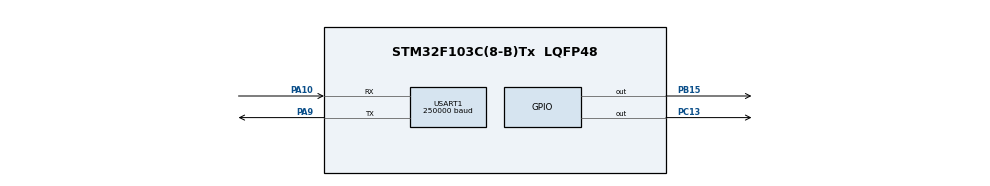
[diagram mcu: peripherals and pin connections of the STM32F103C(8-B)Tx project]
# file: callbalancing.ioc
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Mcu.Family=STM32F1
Mcu.Name=STM32F103C(8-B)Tx
Mcu.Package=LQFP48
NVIC.PriorityGroup=NVIC_PRIORITYGROUP_4
NVIC.USART1_IRQn=true\:0\:0\:false\:false\:true\:true\:true
PA10.Mode=Asynchronous
PA10.Signal=USART1_RX
PA13.Mode=Serial_Wire
PA13.Signal=SYS_JTMS-SWDIO
PA14.Mode=Serial_Wire
PA14.Signal=SYS_JTCK-SWCLK
PA9.Mode=Asynchronous
PA9.Signal=USART1_TX
PB15.Signal=GPIO_Output
PC13-TAMPER-RTC.Signal=GPIO_Output
ProjectManager.HeapSize=0x200
ProjectManager.StackSize=0x400
ProjectManager.TargetToolchain=MDK-ARM V5.27
RCC.APB1Freq_Value=8000000
RCC.APB2Freq_Value=8000000
RCC.USBFreq_Value=8000000
USART1.BaudRate=250000
USART1.VirtualMode=VM_ASYNC
board=custom

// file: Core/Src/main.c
/* USER CODE BEGIN Header */
/**
  ******************************************************************************
  * @title          : Passive Cell Balancing
	* @file           : main.c
  * @brief          : Main program body
	* @author         : Amrathesh and Shyamanth RH
	* @date						: 13/12/2020
	* @description    : This code communicates with bq76pl55a IC. This was the day we had a major breakthrough in our project on cell balancing
	* 									We could finnaly communicate with bq76pl55a battery monitoring IC
  ******************************************************************************
  * @attention
  *
  * <h2><center>&copy; Copyright (c) 2020 STMicroelectronics.
  * All rights reserved.</center></h2>
  *
  * This software component is licensed by ST under BSD 3-Clause license,
  * the "License"; You may not use this file except in compliance with the
  * License. You may obtain a copy of the License at:
  *                        opensource.org/licenses/BSD-3-Clause
  *
  ******************************************************************************
  */
/* USER CODE END Header */
#include "main.h"
#include "usart.h"
#include "gpio.h"

/* USER CODE BEGIN Includes */
#include "pl455.h"

/* USER CODE END Includes */

/* USER CODE BEGIN PD */
#define NOC 6 //Number of cells
/* USER CODE END PD */

void SystemClock_Config(void);

int main(void)
{

  /* MCU Configuration--------------------------------------------------------*/

  /* Reset of all peripherals, Initializes the Flash interface and the Systick. */
  HAL_Init();

  /* Configure the system clock */
  SystemClock_Config();

  /* Initialize all configured peripherals */
  MX_GPIO_Init();
  MX_USART1_UART_Init();
  /* USER CODE BEGIN 2 */

	BYTE bFrame[132];

  float volt[6];
	volatile int minimum = 0;
	volatile uint16_t balanceenable = 0x0000;
	powerDown();
	WakePL455();

  WriteReg(0, 107, 0x8000, 2, FRMWRT_SGL_NR); // Mask Customer Checksum Fault bit

  // Clear all faults
  WriteReg(0, 82, 0xFFC0, 2, FRMWRT_SGL_NR);  // clear all fault summary flags
  WriteReg(0, 81, 0x38, 1, FRMWRT_SGL_NR);    // clear fault flags in the system status register //comm clear and reset

  //Using Default addr i.e 0

  delayms(10);

	// Configure AFE to fastest setting
	WriteReg(0, 61, 0x00, 1, FRMWRT_ALL_NR); // set 0 initial delay

	// Configure cell voltage and internal temp sample period
	WriteReg(0, 62, 0x04, 1, FRMWRT_ALL_NR); // set 4.13us cell and 12.6us temp ADC sample period

	// Configure the oversampling rate
	WriteReg(0, 7, 0x00, 1, FRMWRT_ALL_NR); // set 0 oversampling means no oversampling

  WriteReg(0, 81, 0x38, 1, FRMWRT_SGL_NR); // clear fault flags in the system status register
  WriteReg(0, 82, 0xFFC0, 2, FRMWRT_SGL_NR); // clear all fault summary flags

  // Select number of cells and channels to sample
  WriteReg(0, 13, 0x06, 1, FRMWRT_SGL_NR); // set number of cells to 6

  WriteReg(0, 3, 0x003F0000, 4, FRMWRT_SGL_NR); // select 7 cell

  // Set cell over-voltage and cell under-voltage thresholds on a single board (section 2.2.6.1)
  WriteReg(0, 144, 0xD70A, 2, FRMWRT_SGL_NR); // set OV threshold = 4.2000V
  WriteReg(0, 142, 0x8CCD, 2, FRMWRT_SGL_NR); // set UV threshold = 2.75000V

	HAL_Delay(1000);

	//powerDown();

  /* USER CODE END 2 */

  /* Infinite loop */
  /* USER CODE BEGIN WHILE */
  while (1)
  {
		HAL_Delay(5000);
		WriteReg(0, 2, 0x01, 1, FRMWRT_SGL_R); // send sync sample command
		ReadResp(bFrame,15); //pkt header + 6 cell voltages + CRC

		HAL_Delay(1000);

		getcellVoltages(bFrame,NOC,volt);

		minimum = findminimum(volt,NOC);

		switch(minimum)
		{
			case 1:
				balanceenable=0x0001;
			  break;
			case 2:
				balanceenable=0x0002;
			  break;
			case 3:
				balanceenable=0x0004;
			  break;
			case 4:
				balanceenable=0x0008;
			  break;
			case 5:
				balanceenable=0x0010;
			  break;
			case 6:
				balanceenable=0x0020;
			  break;
			default:
				balanceenable=0x0000;

		}

	//	HAL_Delay(2000);

	  WriteReg(0,19,8,1,FRMWRT_SGL_NR); // Continue balance on fault
		WriteReg(0,20,balanceenable,2,FRMWRT_SGL_NR); // balance on for the cell with minimum voltage

    /* USER CODE END WHILE */

  }
}

void SystemClock_Config(void)
{
  RCC_OscInitTypeDef RCC_OscInitStruct = {0};
  RCC_ClkInitTypeDef RCC_ClkInitStruct = {0};

  /** Initializes the RCC Oscillators according to the specified parameters
  * in the RCC_OscInitTypeDef structure.
  */
  RCC_OscInitStruct.OscillatorType = RCC_OSCILLATORTYPE_HSI;
  RCC_OscInitStruct.HSIState = RCC_HSI_ON;
  RCC_OscInitStruct.HSICalibrationValue = RCC_HSICALIBRATION_DEFAULT;
  RCC_OscInitStruct.PLL.PLLState = RCC_PLL_NONE;
  if (HAL_RCC_OscConfig(&RCC_OscInitStruct) != HAL_OK)
  {
    Error_Handler();
  }
  /** Initializes the CPU, AHB and APB buses clocks
  */
  RCC_ClkInitStruct.ClockType = RCC_CLOCKTYPE_HCLK|RCC_CLOCKTYPE_SYSCLK
                              |RCC_CLOCKTYPE_PCLK1|RCC_CLOCKTYPE_PCLK2;
  RCC_ClkInitStruct.SYSCLKSource = RCC_SYSCLKSOURCE_HSI;
  RCC_ClkInitStruct.AHBCLKDivider = RCC_SYSCLK_DIV1;
  RCC_ClkInitStruct.APB1CLKDivider = RCC_HCLK_DIV1;
  RCC_ClkInitStruct.APB2CLKDivider = RCC_HCLK_DIV1;

  if (HAL_RCC_ClockConfig(&RCC_ClkInitStruct, FLASH_LATENCY_0) != HAL_OK)
  {
    Error_Handler();
  }
}

void Error_Handler(void)
{
}

/************************ (C) COPYRIGHT STMicroelectronics *****END OF FILE****/
